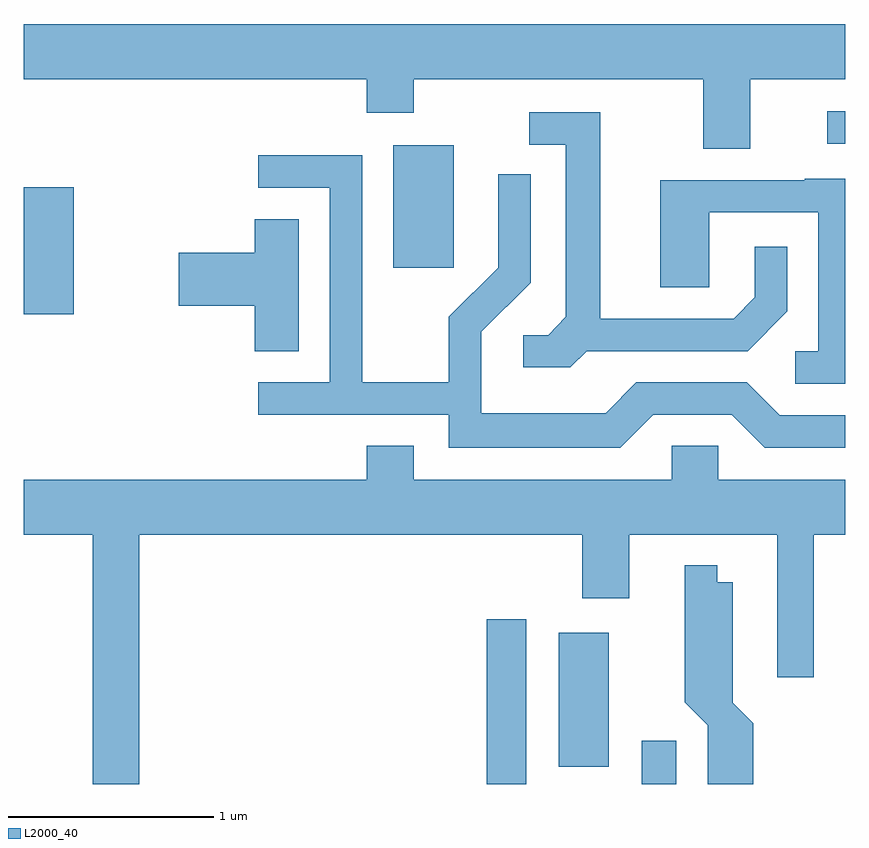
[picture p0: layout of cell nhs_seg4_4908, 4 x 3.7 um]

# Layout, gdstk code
import gdstk
lib = gdstk.Library(unit=1e-6, precision=1e-09)
def R(c, l, rs):  # rectangles x0, y0, x1, y1
    for r in rs: c.add(gdstk.rectangle(r[:2], r[2:], *l))
def P(c, l, *ps):  # polygons
    for p in ps: c.add(gdstk.Polygon(p, *l))
L2000_40 = (2000, 40)

nhs_seg4_4908 = lib.new_cell('nhs_seg4_4908')
R(nhs_seg4_4908, L2000_40, [(331.866,1277.982,332.059,1278.784), (332.621,1277.982,332.789,1278.193), (332.216,1278.066,332.459,1278.719), (329.611,1280.271,329.854,1280.889), (331.411,1280.496,331.704,1281.094), (333.523,1281.101,333.611,1281.259)])
P(nhs_seg4_4908, L2000_40, [(333.149,1281.416),(333.611,1281.416),(333.611,1281.684),(329.611,1281.684),(329.611,1281.416),(331.281,1281.416),(331.281,1281.251),(331.509,1281.251),(331.509,1281.416),(332.921,1281.416),(332.921,1281.076),(333.149,1281.076)],
  [(332.352,1280.091),(333.137,1280.091),(333.329,1280.284),(333.329,1280.598),(333.171,1280.598),(333.171,1280.352),(333.069,1280.249),(332.419,1280.249),(332.419,1281.254),(332.073,1281.254),(332.073,1281.096),(332.251,1281.096),(332.251,1280.257),(332.164,1280.169),(332.043,1280.169),(332.043,1280.011),(332.272,1280.011)],
  [(332.677,1279.781),(333.059,1279.781),(333.219,1279.621),(333.611,1279.621),(333.611,1279.779),(333.292,1279.779),(333.132,1279.939),(332.594,1279.939),(332.444,1279.789),(331.839,1279.789),(331.839,1280.184),(332.079,1280.424),(332.079,1280.953),(331.921,1280.953),(331.921,1280.497),(331.681,1280.257),(331.681,1279.939),(331.259,1279.939),(331.259,1281.044),(330.753,1281.044),(330.753,1280.886),(331.101,1280.886),(331.101,1279.939),(330.753,1279.939),(330.753,1279.781),(331.681,1279.781),(331.681,1279.621),(332.517,1279.621)],
  [(333.611,1280.929),(333.415,1280.929),(333.415,1280.924),(332.711,1280.924),(332.711,1280.401),(332.949,1280.401),(332.949,1280.766),(333.481,1280.766),(333.481,1280.089),(333.368,1280.089),(333.368,1279.931),(333.611,1279.931)],
  [(330.949,1280.734),(330.736,1280.734),(330.736,1280.569),(330.366,1280.569),(330.366,1280.311),(330.736,1280.311),(330.736,1280.091),(330.949,1280.091)],
  [(330.174,1279.196),(332.331,1279.196),(332.331,1278.886),(332.559,1278.886),(332.559,1279.196),(333.281,1279.196),(333.281,1278.501),(333.459,1278.501),(333.459,1279.196),(333.611,1279.196),(333.611,1279.464),(332.994,1279.464),(332.994,1279.629),(332.766,1279.629),(332.766,1279.464),(331.509,1279.464),(331.509,1279.629),(331.281,1279.629),(331.281,1279.464),(329.611,1279.464),(329.611,1279.196),(329.946,1279.196),(329.946,1277.982),(330.174,1277.982)],
  [(333.164,1278.277),(333.064,1278.377),(333.064,1278.964),(332.989,1278.964),(332.989,1279.048),(332.831,1279.048),(332.831,1278.379),(332.941,1278.269),(332.941,1277.982),(333.164,1277.982)])

lib.write_gds('nhs_seg4_4908.gds')
